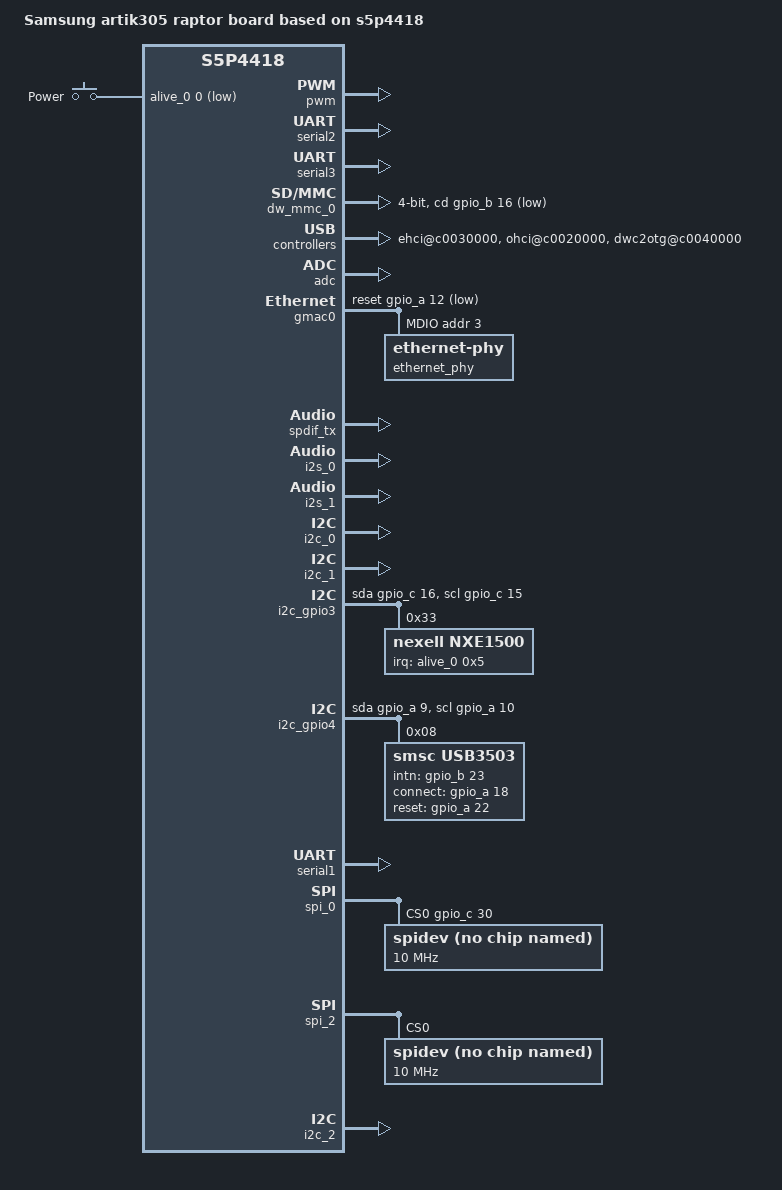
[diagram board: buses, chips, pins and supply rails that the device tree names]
/*
 * Copyright (C) 2017 Samsung Electronics.
 * Author: Jaewon Kim <jaewon02.kim@samsung.com>
 *
 * This program is free software; you can redistribute it and/or
 * modify it under the terms of the GNU General Public License
 * as published by the Free Software Foundation; either version 2
 * of the License, or (at your option) any later version.
 *
 * This program is distributed in the hope that it will be useful,
 * but WITHOUT ANY WARRANTY; without even the implied warranty of
 * MERCHANTABILITY or FITNESS FOR A PARTICULAR PURPOSE.  See the
 * GNU General Public License for more details.
 *
 * You should have received a copy of the GNU General Public License
 * along with this program.  If not, see <http://www.gnu.org/licenses/>.
 */

/dts-v1/;
#include <dt-bindings/interrupt-controller/irq.h>
#include <dt-bindings/input/input.h>
#include "s5p4418-artik305.dtsi"
#include "s5p4418-artik305-cpu.dtsi"

#define PMIC_PDATA_INIT(_id, _rname, _minuv,	\
			_maxuv, _init_uv, _init_enable,		\
			_set_init_uV, _slp_slots)	\
		regulator-name = _rname;		\
		regulator-min-microvolt = <_minuv>;	\
		regulator-max-microvolt = <_maxuv>;	\
		nx,id = <_id>;				\
		nx,init_enable = <_init_enable>;	\
		nx,init_uV = <_init_uv>;		\
		nx,set_init_uV = <_set_init_uV>;	\
		nx,sleep_slots = <_slp_slots>;

/ {
	model = "Samsung artik305 raptor board based on s5p4418";
	compatible = "samsung,artik305-raptor", "samsung,artik305",
		   "nexell,s5p4418";

	psci {
		compatible = "arm,psci-0.2";
		method = "smc";
	};

	aliases {
		i2c1 = &i2c_1;
		i2c3 = &i2c_gpio3;
		i2c4 = &i2c_gpio4;
	};

	nx-v4l2 {
		status = "okay";
	};

	soc {

		clocks {
			vip0:vip@c00c1000 { clock-frequency = <300000000>;};
			i2c0:i2c@c00ae000 { clock-frequency = <200000000>;};
			i2c1:i2c@c00af000 { clock-frequency = <200000000>;};
			i2c2:i2c@c00b0000 { clock-frequency = <200000000>;};
			pwm0:pwm0@c00ba000 {
				clk-input = <I_PLL2>;
				clock-frequency = <10000000>;
			};
			pwm1:pwm1@c00ba000 {
				clk-input = <I_PLL2>;
				clock-frequency = <10000000>;
			};
			pwm2:pwm2@c00be000 {
				clk-input = <I_PLL2>;
				clock-frequency = <10000000>;
			};
			pwm3:pwm3@c00be000 {
				clk-input = <I_PLL2>;
				clock-frequency = <10000000>;
			};
		};

		timer@c0017000 {
			clocks =  <&timer0>, <&timer1>;
			clock-names = "timer0", "timer1";
		};

		pwm:pwm@c0018000 {
			clocks =  <&pwm0>, <&pwm1>, <&pwm2>, <&pwm3>;
			clock-names = "pwm-tclk0", "pwm-tclk1", "pwm-tclk2", "pwm-tclk3";
		};

		dynamic-freq@bb000 {
			supply_name = "vdd_core_regulator";
			vdd_core_regulator-supply = <&VCC_DCDC0>;
		};

		serial2:serial@c00a2000 {
			status ="okay";
		};

		serial3:serial@c00a3000 {
			status ="okay";
		};

		dw_mmc_0:dw_mmc@c0062000 {
			num-slots = <1>;
			bus-width = <4>;
			cap-sd-highspeed;
			clock-frequency = <100000000>;
			card-detect-delay = <200>;
			disable-wp;
			cd-gpios = <&gpio_b 16 0>;
			cd-inverted;
			nexell,drive_dly = <0x0>;
			nexell,drive_shift = <0x02>;
			nexell,sample_dly = <0x00>;
			nexell,sample_shift = <0x01>;
			status = "okay";
		};

		nexell_usbphy: nexell-usbphy@c0012000 {
			status = "okay";
		};

		ehci@c0030000 {
			status = "okay";
			port@0 {
				status = "okay";
			};
			port@1 {
				status = "okay";
			};
		};

		ohci@c0020000 {
			status = "okay";
			port@0 {
				status = "okay";
			};
		};

		dwc2otg@c0040000 {
			status = "okay";
		};

		pinctrl@C0010000 {
			key_pwr:key_pwr {
				nexell,pins = "alive-0";
				nexell,pin-function = <0>;
				nexell,pin-pull = <1>;
				nexell,pin-strength = <0>;
			};

			pmic_irq:pmic_irq{
				nexell,pins = "alive-5";
				nexell,pin-function = <0>;
				nexell,pin-pull = <1>;
				nexell,pin-strength = <0>;
			};
		};

		adc:adc@c0053000 {
			status = "okay";
		};

		gmac0:ethernet@c0060000 {
			pinctrl-names = "default";
			pinctrl-0 = <&gmac_pins>;

			status = "okay";
			#address-cells = <0x1>;
			#size-cells = <0x0>;

			snps,phy-addr = <3>;
			snps,reset-gpio = <&gpio_a 12 0>;
			snps,reset-active-low;
			snps,reset-delays-us = <0 10000 30000>;

			mdio {
				#address-cells = <1>;
				#size-cells = <0>;

				ethernet_phy: ethernet-phy@3 {
					reg = <3>;
					fixed-link {
						speed = <1000>;
						full-duplex;
					};
				};
			};
		};

		watchdog@c0019000 {
			status = "okay";
		};

		spdif_tx: spdiftx@c0059000 {
			#sound-dai-cells = <1>;
			pcm-bit = <16>;
			sample_rate = <48000>;
			status = "okay";
		};

		i2s_0:i2s@c0055000 {
			#sound-dai-cells = <1>;
			master-mode = <1>;
			mclk-in = <0>;
			trans-mode = <1>;
			frame-bit = <48>;
			sample-rate = <48000>;
			pre-supply-mclk = <1>;
			status = "okay";
		};

		i2s_1:i2s@c0056000 {
			#sound-dai-cells = <1>;
			master-mode = <0>;
			mclk-in = <1>;
			trans-mode = <1>;
			frame-bit = <48>;
			sample-rate = <48000>;
			pre-supply-mclk = <0>;
			status = "okay";
		};

		i2c_0:i2c@c00a4000 {
			status = "okay";
			#address-cells = <1>;
			#size-cells = <0>;
			rate = <400000>;
		};

		i2c_1:i2c@c00a5000 {
			status = "okay";
			#address-cells = <1>;
			#size-cells = <0>;
		};

		i2c_gpio3: i2c@3 {
			compatible = "i2c-gpio";
			gpios = <&gpio_c 16 0	/* SDA */
				&gpio_c 15 0	/* SCL */
				>;
			#address-cells = <1>;
			#size-cells = <0>;
			status = "okay";

			nxe1500@33 {
				compatible = "nexell,nxe1500";
				reg = <0x33>;
				interrupt-parent = <&alive_0>;
				interrupts = <0x5 IRQ_TYPE_EDGE_FALLING>;
				pinctrl-names = "default";
				pinctrl-0 = <&pmic_irq>;
			};
		};

		scaler@c0066000 {
			status = "okay";
		};

		video-codec@c0080000 {
			status = "okay";
			sram = <0 0>;
		};
	};	/*** soc ***/

	i2c_gpio4: i2c@4 {
		compatible = "i2c-gpio";
		gpios = <&gpio_a 9 0 /* sda */
			 &gpio_a 10 0 /* scl */
			>;
		i2c-gpio,delay-us = <1>;    /* ~100 kHz */
		#address-cells = <1>;
		#size-cells = <0>;

		usb3503: usb3503@08 {
			compatible = "smsc,usb3503";
			reg = <0x08>;
			intn-gpios = <&gpio_b 23 0>;
			connect-gpios = <&gpio_a 18 0>;
			reset-gpios = <&gpio_a 22 0>;
			initial-mode = <1>;
		};
	};

	gpio_keys {
		compatible = "gpio-keys";
		#address-cells = <1>;
		#size-cells = <0>;
		pinctrl-names = "default";
		pinctrl-0 = <&key_pwr>;

		power {
			label = "Power";
			gpios = <&alive_0 0 1>;
			linux,code = <KEY_POWER>;
			gpio-key,wakeup;
		};
	};

	snd_null: snd_null@10 {
		#sound-dai-cells = <0>;
		compatible = "nexell,snd-null";
		#address-cells = <1>;
		#size-cells = <0>;
		reg = <0 0>;
	};

	sound {
		compatible = "simple-audio-card";
		simple-audio-card,name = "Artik530 raptor Audio";
		simple-audio-card,mclk-fs = <256>;
		status = "okay";

		simple-audio-card,dai-link@0 {
		    format = "i2s";
		    cpu {
			sound-dai = <&i2s_0 0>;
		    };

		    codec {
			sound-dai = <&snd_null>;
		    };
		};

		simple-audio-card,dai-link@1 {
		    format = "i2s";
		    cpu {
			sound-dai = <&i2s_1 0>;
		    };

		    codec {
			sound-dai = <&snd_null>;
		    };
		};
	};

	gpio_keys {
		compatible = "gpio-keys";
		#address-cells = <1>;
		#size-cells = <0>;
		pinctrl-names = "default";
		pinctrl-0 = <&key_pwr>;

		power {
			label = "Power";
			gpios = <&alive_0 0 1>;
			linux,code = <KEY_POWER>;
			gpio-key,wakeup;
		};
	};

	regulators {
		VCC_DCDC0:dcdc1
				{ PMIC_PDATA_INIT( 0,
				"nxe2000_dcdc1",
				900000, 1500000,
				1250000, 1, 0, 0x4)
				regulator-always-on;
				regulator-boot-on;};
		VCC_DCDC1:dcdc2
				{ PMIC_PDATA_INIT( 1,
				"nxe2000_dcdc2",
				1000000, 1500000,
				1100000, 1, 0, 0x4)
				regulator-always-on;
				regulator-boot-on;};
		VCC_DCDC2:dcdc3
				{ PMIC_PDATA_INIT( 2,
				"nxe2000_dcdc3",
				1000000, 1800000,
				1500000, 1, 0, 0x4)
				regulator-always-on;
				regulator-boot-on;};
		VCC_DCDC3:dcdc4
				{ PMIC_PDATA_INIT( 3,
				"nxe2000_dcdc4",
				1000000, 1800000,
				1500000, 1, 0, 0xF)
				regulator-always-on;
				regulator-boot-on;};
		VCC_LDO0:ldo1
				{ PMIC_PDATA_INIT( 5,
				"nxe2000_ldo1",
				1000000, 3500000,
				3300000, 1, 1, 0x0)
				regulator-always-on;
				regulator-boot-on;};
		VCC_LDO1:ldo2
				{ PMIC_PDATA_INIT( 6,
				"nxe2000_ldo2",
				1000000, 3500000,
				1800000, 1, 1, 0x2)
				regulator-always-on;
				regulator-boot-on;};
		VCC_LDO2:ldo3
				{ PMIC_PDATA_INIT( 7,
				"nxe2000_ldo3",
				1000000, 3500000,
				3300000, 1, 1, 0x0)
				regulator-always-on;
				regulator-boot-on;};
		VCC_LDO3:ldo4
				{ PMIC_PDATA_INIT( 8,
				"nxe2000_ldo4",
				1000000, 3500000,
				1200000, 0, 1, 0x2)
				regulator-always-on;
				regulator-boot-on;};
		VCC_LDO4:ldo5
				{ PMIC_PDATA_INIT( 9,
				"nxe2000_ldo5",
				1000000, 3500000,
				3300000, 0, 1, 0x0)};
		VCC_RTC0:ldortc1
				{ PMIC_PDATA_INIT(15,
				"nxe2000_rtc1",
				1700000, 3500000,
				1800000, 1, 1, 0xF)
				regulator-always-on;
				regulator-boot-on;};
		VCC_RTC1:ldortc2
				{ PMIC_PDATA_INIT(16,
				"nxe2000_rtc2",
				1000000, 3500000,
				1000000, 1, 1, 0xF)
				regulator-always-on;
				regulator-boot-on;};
	}; /* regulators */

	nx-devfreq {
		pll = <3>;
		supply_name = "vdd_arm_regulator";
		vdd_arm_regulator-supply = <&VCC_DCDC1>;
		status = "okay";
	};
};

&pwm {
	pinctrl-names = "default";
	pinctrl-0 = <&pwm0_pin &pwm1_pin &pwm2_pin>;
	samsung,pwm-outputs = <0>, <1>, <2>;
	status = "okay";
};

&serial1 {
	status = "okay";
	pinctrl-0 = <&serial1_pin>, <&serial1_flow_cts>, <&serial1_flow_rts>;
};



&spi_0 {
	status = "okay";
	cs-gpios = <&gpio_c 30 0>;
	spidev@0 {
		compatible = "linux,spidev";
		pl022,com-mode = <0x2>;
		pl022,rx-level-trig = <1>;
		pl022,tx-level-trig = <1>;
		reg = <0>;
		spi-max-frequency = <10000000>;
		controller-data {
			samsung,spi-feedback-delay = <0>;
		};
	};
};

&spi_2 {
	status = "okay";
	spidev@0 {
		compatible = "linux,spidev";
		pl022,hierarchy = <1>;
		pl022,com-mode = <0x2>;
		pl022,rx-level-trig = <1>;
		pl022,tx-level-trig = <1>;
		pl022,slave-tx-disable;
		spi-cpol;
		spi-cpha;
		reg = <0>;
		spi-max-frequency = <10000000>;
		controller-data {
			samsung,spi-feedback-delay = <0>;
		};
	};
};

&i2c_1 {
	status = "okay";
};

&i2c_2 {
	#address-cells = <1>;
	#size-cells = <0>;
	status = "okay";
};
